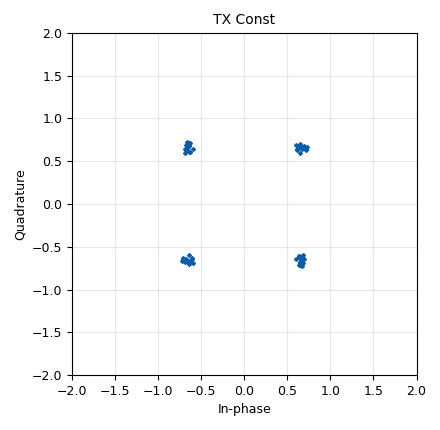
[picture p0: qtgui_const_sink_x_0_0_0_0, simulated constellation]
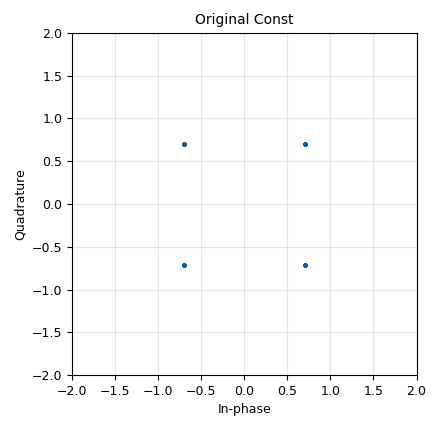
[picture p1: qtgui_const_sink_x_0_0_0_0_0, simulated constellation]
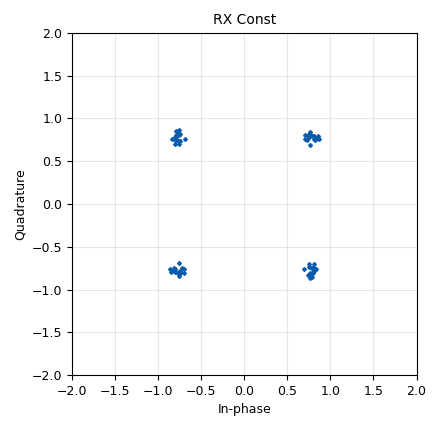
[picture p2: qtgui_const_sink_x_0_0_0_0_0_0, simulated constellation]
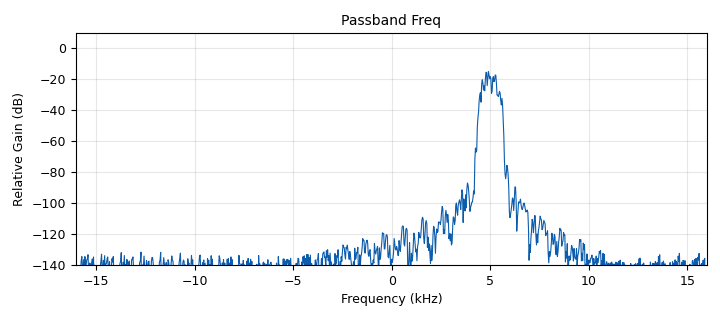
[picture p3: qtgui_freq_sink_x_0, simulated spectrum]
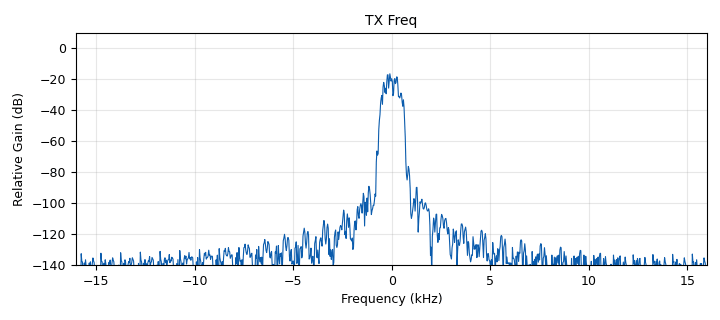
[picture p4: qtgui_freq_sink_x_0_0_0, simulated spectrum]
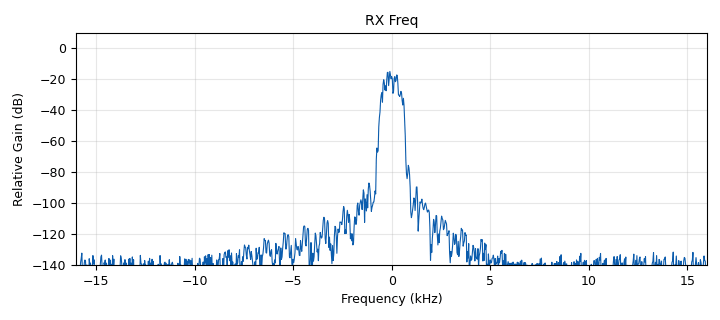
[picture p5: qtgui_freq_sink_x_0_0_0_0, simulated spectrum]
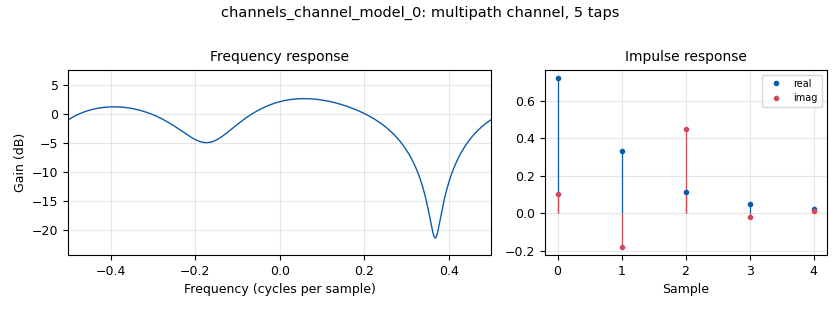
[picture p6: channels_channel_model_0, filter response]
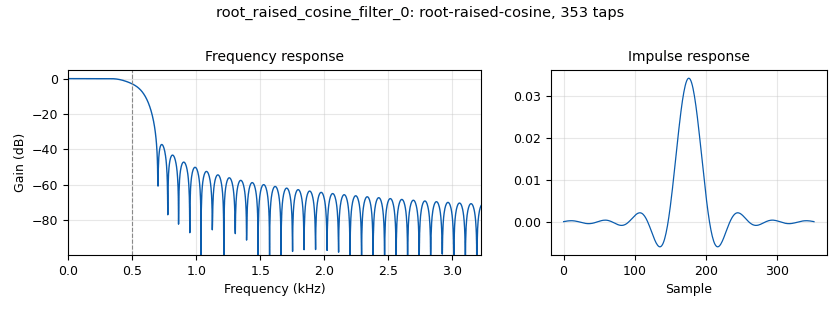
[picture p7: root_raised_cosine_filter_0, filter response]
options:
  parameters:
    author: John Sylvia
    generate_options: qt_gui
    id: qpsk_ber
    output_language: python
    title: QPSK BER
  states: {}

blocks:
- name: delay_blk
  id: variable_qtgui_range
  parameters:
    label: Delay
    rangeType: int
    start: '0'
    step: '1'
    stop: '100'
    value: '10'
  states: {}
- name: epsilon
  id: variable_qtgui_range
  parameters:
    label: Epsilon
    rangeType: int
    start: '0'
    step: '1'
    stop: '1000'
    value: '0'
  states: {}
- name: freq_range
  id: variable_qtgui_range
  parameters:
    label: Frequency
    start: '0'
    step: '1'
    stop: '100'
    value: '0'
  states: {}
- name: noise_range
  id: variable_qtgui_range
  parameters:
    label: Noise (dB)
    start: '-100'
    step: '1'
    stop: '10'
    value: '-100'
  states: {}
- name: order
  id: variable
  parameters:
    value: '4'
  states: {}
- name: peamble
  id: variable
  parameters:
    value: '[1, 1, 3, 2, 0, 3, 0, 1]'
  states: {}
- name: qpsk_obj
  id: variable_constellation
  parameters:
    const_points: '[-1-1j, -1+1j, 1+1j, 1-1j]'
    dims: '1'
    normalization: digital.constellation.AMPLITUDE_NORMALIZATION
    precision: '8'
    rot_sym: order
    sym_map: '[0, 1, 3, 2]'
    type: calcdist
  states: {}
- name: samp_rate
  id: variable
  parameters:
    value: '32000'
  states: {}
- name: sps
  id: variable_qtgui_range
  parameters:
    label: Samps/Symbol
    rangeType: int
    start: '1'
    step: '1'
    stop: '100'
    value: '32'
  states: {}
- name: variable_modulate_vector_0
  id: variable_modulate_vector
  parameters:
    data: peamble
    mod: digital.generic_mod(qpsk_obj, True, sps, True, 0.35, False, False)
    taps: '[1]'
  states: {}
- name: analog_random_source_x_0
  id: analog_random_source_x
  parameters:
    max: '4'
    min: '0'
    num_samps: '1000'
    repeat: 'True'
    type: byte
  states: {state: disabled}
- name: analog_sig_source_x_0
  id: analog_sig_source_x
  parameters:
    amp: '1'
    freq: '5000'
    offset: '0'
    phase: '0'
    samp_rate: samp_rate
    type: complex
    waveform: analog.GR_COS_WAVE
  states: {}
- name: analog_sig_source_x_0_0
  id: analog_sig_source_x
  parameters:
    amp: '1'
    freq: '-5000'
    offset: '0'
    phase: '0'
    samp_rate: samp_rate
    type: complex
    waveform: analog.GR_COS_WAVE
  states: {}
- name: blocks_char_to_float_0
  id: blocks_char_to_float
  parameters:
    scale: '1'
  states: {state: disabled}
- name: blocks_delay_0
  id: blocks_delay
  parameters:
    delay: delay_blk
    type: byte
  states: {}
- name: blocks_multiply_xx_0
  id: blocks_multiply_xx
  parameters:
    type: complex
  states: {}
- name: blocks_multiply_xx_0_0
  id: blocks_multiply_xx
  parameters:
    type: complex
  states: {}
- name: blocks_repack_bits_bb_0
  id: blocks_repack_bits_bb
  parameters:
    endianness: gr.GR_LSB_FIRST
    k: '1'
    l: '8'
  states: {}
- name: blocks_repack_bits_bb_0_0
  id: blocks_repack_bits_bb
  parameters:
    endianness: gr.GR_LSB_FIRST
    k: '1'
    l: '8'
  states: {}
- name: blocks_repeat_0
  id: blocks_repeat
  parameters:
    interp: sps
    type: byte
  states: {}
- name: blocks_repeat_0_0
  id: blocks_repeat
  parameters:
    comment: for visualzation
    interp: sps
    type: byte
  states: {}
- name: blocks_repeat_0_1
  id: blocks_repeat
  parameters:
    interp: sps
    type: byte
  states: {}
- name: blocks_repeat_0_1_0
  id: blocks_repeat
  parameters:
    interp: sps
    type: byte
  states: {}
- name: blocks_stream_mux_0
  id: blocks_stream_mux
  parameters:
    lengths: (8, 8)
    type: byte
  states: {}
- name: blocks_throttle2_0
  id: blocks_throttle2
  parameters:
    samples_per_second: samp_rate
    type: complex
  states: {}
- name: blocks_throttle2_0_0
  id: blocks_throttle2
  parameters:
    samples_per_second: samp_rate
    type: complex
  states: {}
- name: blocks_throttle2_0_0_0
  id: blocks_throttle2
  parameters:
    samples_per_second: samp_rate
    type: complex
  states: {}
- name: blocks_throttle2_0_0_0_0
  id: blocks_throttle2
  parameters:
    samples_per_second: samp_rate
    type: complex
  states: {}
- name: blocks_throttle2_0_0_0_0_0
  id: blocks_throttle2
  parameters:
    samples_per_second: samp_rate
    type: byte
  states: {state: disabled}
- name: blocks_throttle2_0_0_0_0_1
  id: blocks_throttle2
  parameters:
    samples_per_second: samp_rate
    type: complex
  states: {}
- name: blocks_throttle2_0_0_0_1
  id: blocks_throttle2
  parameters:
    samples_per_second: samp_rate
    type: complex
  states: {}
- name: blocks_throttle2_0_0_1
  id: blocks_throttle2
  parameters:
    samples_per_second: samp_rate
    type: complex
  states: {}
- name: blocks_throttle2_0_0_1_0
  id: blocks_throttle2
  parameters:
    samples_per_second: samp_rate
    type: float
  states: {}
- name: blocks_throttle2_0_0_2
  id: blocks_throttle2
  parameters:
    samples_per_second: samp_rate
    type: complex
  states: {}
- name: blocks_vector_source_x_0
  id: blocks_vector_source_x
  parameters:
    repeat: 'True'
    type: byte
    vector: (0, 1, 1, 2, 3, 0, 0, 1)
  states: {}
- name: blocks_vector_source_x_0_0
  id: blocks_vector_source_x
  parameters:
    repeat: 'True'
    type: byte
    vector: peamble
  states: {}
- name: channels_channel_model_0
  id: channels_channel_model
  parameters:
    epsilon: 1.0 + epsilon*10**-6
    freq_offset: freq_range*10**-6
    noise_voltage: 10**(noise_range/10)
    seed: '0'
    taps: '[0.72 + 0.10j, 0.33 - 0.18j, 0.11 + 0.45j, 0.05 - 0.02j, 0.02 + 0.01j]'
  states: {}
- name: digital_constellation_decoder_cb_0
  id: digital_constellation_decoder_cb
  parameters:
    constellation: qpsk_obj
  states: {}
- name: digital_constellation_encoder_bc_0
  id: digital_constellation_encoder_bc
  parameters:
    constellation: qpsk_obj
  states: {}
- name: digital_constellation_encoder_bc_0_0
  id: digital_constellation_encoder_bc
  parameters:
    constellation: qpsk_obj
  states: {}
- name: digital_constellation_encoder_bc_0_1
  id: digital_constellation_encoder_bc
  parameters:
    constellation: qpsk_obj
  states: {}
- name: digital_constellation_encoder_bc_0_2
  id: digital_constellation_encoder_bc
  parameters:
    constellation: qpsk_obj
  states: {}
- name: digital_corr_est_cc_0
  id: digital_corr_est_cc
  parameters:
    mark_delay: '1'
    sps: sps
    symbols: variable_modulate_vector_0
    threshold: '0.9'
    threshold_method: digital.THRESHOLD_ABSOLUTE
  states: {}
- name: digital_costas_loop_cc_0_0
  id: digital_costas_loop_cc
  parameters:
    order: order
    w: '0.01'
  states: {}
- name: digital_diff_decoder_bb_0
  id: digital_diff_decoder_bb
  parameters:
    coding: digital.DIFF_DIFFERENTIAL
    modulus: order
  states: {}
- name: digital_diff_encoder_bb_0
  id: digital_diff_encoder_bb
  parameters:
    coding: digital.DIFF_DIFFERENTIAL
    modulus: order
  states: {}
- name: digital_symbol_sync_xx_0
  id: digital_symbol_sync_xx
  parameters:
    damping: '1.0'
    loop_bw: '0.045'
    max_dev: '1.5'
    osps: '1'
    resamp_type: digital.IR_MMSE_8TAP
    sps: sps
    ted_gain: '1.0'
    ted_type: digital.TED_GARDNER
    type: cc
  states: {}
- name: digital_symbol_sync_xx_0_0
  id: digital_symbol_sync_xx
  parameters:
    damping: '1.0'
    loop_bw: '0.045'
    max_dev: '1.5'
    osps: '1'
    resamp_type: digital.IR_MMSE_8TAP
    sps: sps
    ted_gain: '1.0'
    ted_type: digital.TED_GARDNER
    type: cc
  states: {}
- name: epy_block_0
  id: epy_block
  parameters:
    _source_code: |
      import numpy as np
      from gnuradio import gr

      class blk(gr.sync_block):
          def __init__(self):
              gr.sync_block.__init__(
                  self,
                  name='BER %',
                  in_sig=[np.float32],
                  out_sig=[np.float32]
              )

          def work(self, input_items, output_items):
              output_items[0][:] = 10**(input_items[0][:]) * 100
              return len(output_items[0])
  states: {}
- name: fec_ber_bf_0
  id: fec_ber_bf
  parameters:
    test_mode: 'False'
  states: {}
- name: qtgui_const_sink_x_0_0_0_0
  id: qtgui_const_sink_x
  parameters:
    name: '"TX Const"'
    size: '1024'
    type: complex
  states: {}
- name: qtgui_const_sink_x_0_0_0_0_0
  id: qtgui_const_sink_x
  parameters:
    name: '"Original Const"'
    size: '1024'
    type: complex
  states: {}
- name: qtgui_const_sink_x_0_0_0_0_0_0
  id: qtgui_const_sink_x
  parameters:
    name: '"RX Const"'
    size: '1024'
    type: complex
  states: {}
- name: qtgui_freq_sink_x_0
  id: qtgui_freq_sink_x
  parameters:
    bw: samp_rate
    fc: '0'
    fftsize: '1024'
    name: '"Passband Freq"'
    type: complex
  states: {}
- name: qtgui_freq_sink_x_0_0_0
  id: qtgui_freq_sink_x
  parameters:
    bw: samp_rate
    fc: '0'
    fftsize: '1024'
    name: '"TX Freq"'
    type: complex
  states: {}
- name: qtgui_freq_sink_x_0_0_0_0
  id: qtgui_freq_sink_x
  parameters:
    bw: samp_rate
    fc: '0'
    fftsize: '1024'
    name: '"RX Freq"'
    type: complex
  states: {}
- name: qtgui_number_sink_0
  id: qtgui_number_sink
  parameters:
    graph_type: qtgui.NUM_GRAPH_HORIZ
    gui_hint: '[0,0]'
    max: '100'
    min: '0'
    name: '"BER %"'
    type: float
  states: {}
- name: qtgui_time_sink_x_0_0_0_0_0
  id: qtgui_time_sink_x
  parameters:
    name: '"Original Signal"'
    size: '1024'
    srate: samp_rate
    type: complex
  states: {}
- name: qtgui_time_sink_x_0_0_0_0_0_0
  id: qtgui_time_sink_x
  parameters:
    name: '"Received Signal"'
    size: '1024'
    srate: samp_rate
    type: complex
  states: {}
- name: qtgui_time_sink_x_0_0_0_0_0_1
  id: qtgui_time_sink_x
  parameters:
    name: '"Original Signal"'
    size: '1024'
    srate: samp_rate
    type: float
  states: {state: disabled}
- name: qtgui_time_sink_x_0_0_0_0_0_2
  id: qtgui_time_sink_x
  parameters:
    name: '"Original Signal Combined"'
    size: '1024'
    srate: samp_rate
    type: complex
  states: {}
- name: root_raised_cosine_filter_0
  id: root_raised_cosine_filter
  parameters:
    alpha: '0.35'
    decim: '1'
    gain: '1'
    ntaps: 11*sps
    samp_rate: samp_rate
    sym_rate: samp_rate/sps
    type: fir_filter_ccf
  states: {}
- name: virtual_sink_0
  id: virtual_sink
  parameters:
    stream_id: tx_bpsk
  states: {}
- name: virtual_sink_0_0
  id: virtual_sink
  parameters:
    stream_id: source_signal
  states: {}
- name: virtual_source_0
  id: virtual_source
  parameters:
    stream_id: tx_bpsk
  states: {}
- name: virtual_source_0_0
  id: virtual_source
  parameters:
    stream_id: source_signal
  states: {}

connections:
- [analog_random_source_x_0, '0', blocks_repeat_0_1, '0']
- [analog_random_source_x_0, '0', blocks_stream_mux_0, '1']
- [analog_random_source_x_0, '0', virtual_sink_0_0, '0']
- [analog_sig_source_x_0, '0', blocks_multiply_xx_0, '1']
- [analog_sig_source_x_0_0, '0', blocks_multiply_xx_0_0, '1']
- [blocks_char_to_float_0, '0', qtgui_time_sink_x_0_0_0_0_0_1, '0']
- [blocks_delay_0, '0', blocks_repack_bits_bb_0, '0']
- [blocks_delay_0, '0', blocks_repeat_0_0, '0']
- [blocks_multiply_xx_0, '0', channels_channel_model_0, '0']
- [blocks_multiply_xx_0_0, '0', blocks_throttle2_0_0_2, '0']
- [blocks_multiply_xx_0_0, '0', digital_symbol_sync_xx_0, '0']
- [blocks_repack_bits_bb_0, '0', fec_ber_bf_0, '0']
- [blocks_repack_bits_bb_0_0, '0', fec_ber_bf_0, '1']
- [blocks_repeat_0, '0', digital_constellation_encoder_bc_0_1, '0']
- [blocks_repeat_0_0, '0', digital_constellation_encoder_bc_0_0, '0']
- [blocks_repeat_0_1, '0', digital_constellation_encoder_bc_0, '0']
- [blocks_repeat_0_1_0, '0', digital_constellation_encoder_bc_0_2, '0']
- [blocks_stream_mux_0, '0', blocks_repeat_0_1_0, '0']
- [blocks_stream_mux_0, '0', digital_diff_encoder_bb_0, '0']
- [blocks_throttle2_0, '0', qtgui_freq_sink_x_0, '0']
- [blocks_throttle2_0_0, '0', qtgui_const_sink_x_0_0_0_0_0_0, '0']
- [blocks_throttle2_0_0_0, '0', qtgui_freq_sink_x_0_0_0, '0']
- [blocks_throttle2_0_0_0_0, '0', qtgui_const_sink_x_0_0_0_0_0, '0']
- [blocks_throttle2_0_0_0_0, '0', qtgui_time_sink_x_0_0_0_0_0, '0']
- [blocks_throttle2_0_0_0_0_0, '0', blocks_char_to_float_0, '0']
- [blocks_throttle2_0_0_0_0_1, '0', qtgui_time_sink_x_0_0_0_0_0_2, '0']
- [blocks_throttle2_0_0_0_1, '0', qtgui_const_sink_x_0_0_0_0, '0']
- [blocks_throttle2_0_0_1, '0', qtgui_time_sink_x_0_0_0_0_0_0, '0']
- [blocks_throttle2_0_0_1_0, '0', qtgui_number_sink_0, '0']
- [blocks_throttle2_0_0_2, '0', qtgui_freq_sink_x_0_0_0_0, '0']
- [blocks_vector_source_x_0, '0', blocks_repeat_0_1, '0']
- [blocks_vector_source_x_0, '0', blocks_stream_mux_0, '1']
- [blocks_vector_source_x_0, '0', virtual_sink_0_0, '0']
- [blocks_vector_source_x_0_0, '0', blocks_stream_mux_0, '0']
- [channels_channel_model_0, '0', virtual_sink_0, '0']
- [digital_constellation_decoder_cb_0, '0', digital_diff_decoder_bb_0, '0']
- [digital_constellation_encoder_bc_0, '0', blocks_throttle2_0_0_0_0, '0']
- [digital_constellation_encoder_bc_0_0, '0', blocks_throttle2_0_0_1, '0']
- [digital_constellation_encoder_bc_0_1, '0', root_raised_cosine_filter_0, '0']
- [digital_constellation_encoder_bc_0_2, '0', blocks_throttle2_0_0_0_0_1, '0']
- [digital_corr_est_cc_0, '0', digital_constellation_decoder_cb_0, '0']
- [digital_costas_loop_cc_0_0, '0', blocks_throttle2_0_0, '0']
- [digital_costas_loop_cc_0_0, '0', digital_corr_est_cc_0, '0']
- [digital_diff_decoder_bb_0, '0', blocks_delay_0, '0']
- [digital_diff_encoder_bb_0, '0', blocks_repeat_0, '0']
- [digital_symbol_sync_xx_0, '0', digital_costas_loop_cc_0_0, '0']
- [digital_symbol_sync_xx_0_0, '0', blocks_throttle2_0_0_0_1, '0']
- [epy_block_0, '0', blocks_throttle2_0_0_1_0, '0']
- [fec_ber_bf_0, '0', epy_block_0, '0']
- [root_raised_cosine_filter_0, '0', blocks_multiply_xx_0, '0']
- [root_raised_cosine_filter_0, '0', blocks_throttle2_0_0_0, '0']
- [root_raised_cosine_filter_0, '0', digital_symbol_sync_xx_0_0, '0']
- [virtual_source_0, '0', blocks_multiply_xx_0_0, '0']
- [virtual_source_0, '0', blocks_throttle2_0, '0']
- [virtual_source_0_0, '0', blocks_repack_bits_bb_0_0, '0']
- [virtual_source_0_0, '0', blocks_throttle2_0_0_0_0_0, '0']

metadata:
  file_format: 1
  grc_version: 3.10.9.2
